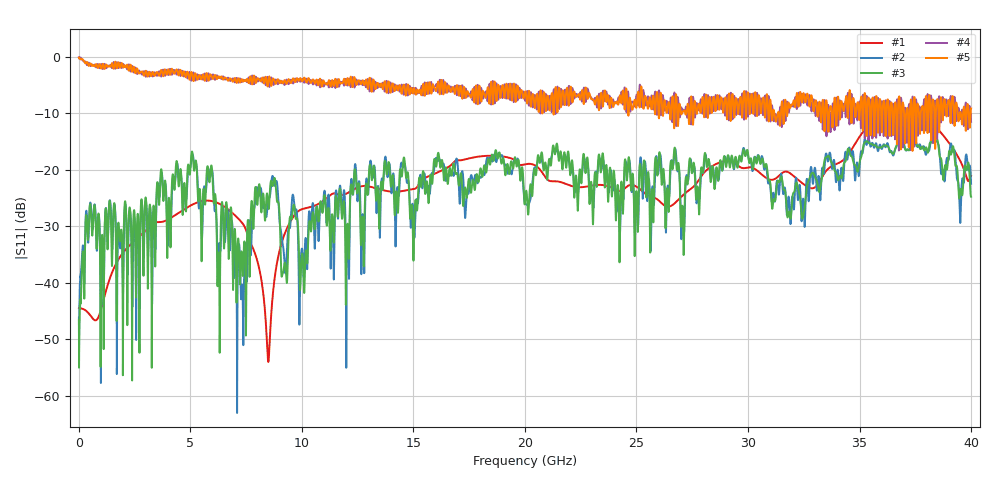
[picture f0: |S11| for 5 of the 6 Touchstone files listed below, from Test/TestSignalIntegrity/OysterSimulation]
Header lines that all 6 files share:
# MHz MA S R 50.0
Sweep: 5 MHz to 40 GHz
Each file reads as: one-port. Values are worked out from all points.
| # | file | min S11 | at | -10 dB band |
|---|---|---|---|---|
| 1 | CalLoad.s1p | -54.0 dB | 8.495 GHz | over 39.99 GHz wide |
| 2 | OysterLoad1.s1p | -63.1 dB | 7.095 GHz | over 39.99 GHz wide |
| 3 | OysterLoad2.s1p | -57.3 dB | 2.39 GHz | over 39.99 GHz wide |
| 4 | OysterOpen1.s1p | -16.6 dB | 36.77 GHz | 293.1 MHz wide |
| 5 | OysterShort1.s1p | -16.7 dB | 37.38 GHz | 163.1 MHz wide |
| 6 | OysterShort2.s1p | -16.7 dB | 37.38 GHz | 163.1 MHz wide |
